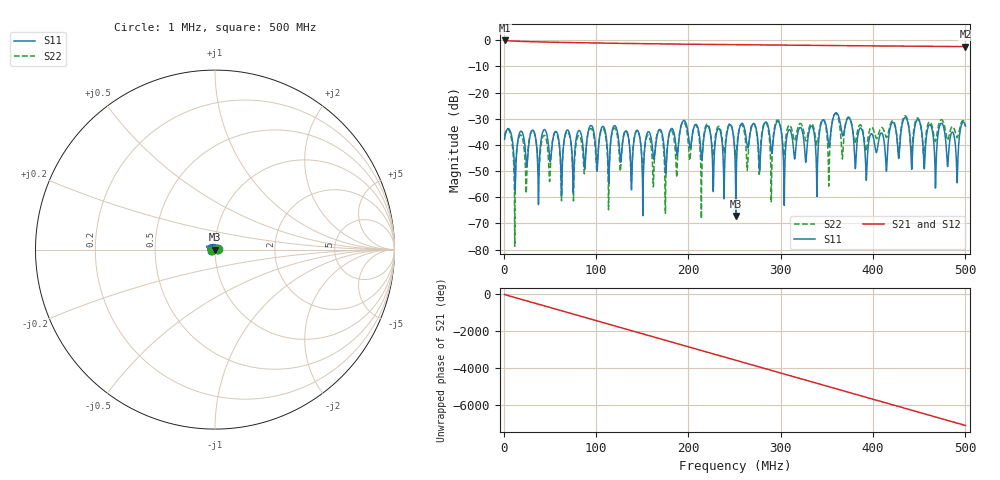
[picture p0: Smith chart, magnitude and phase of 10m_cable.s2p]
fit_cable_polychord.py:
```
import logging
import skrf as rf
import matplotlib.pyplot as plt

from mpi4py import MPI
rank = MPI.COMM_WORLD.Get_rank()

from pmrf.models import CoaxialLine
from pmrf.parameters import Uniform, Fixed, PercentNormal
from pmrf.fitting import PolyChordFitter

logging.basicConfig(level=logging.INFO)

# Load the measured data and setup the model
measured = rf.Network('data/10m_cable.s2p', f_unit='MHz')
model = CoaxialLine(
    din = PercentNormal(1.12, 5.0, scale=1e-3),
    dout = PercentNormal(3.2, 5.0, scale=1e-3),
    epr = PercentNormal(1.45, 5.0, n=2),
    rho = PercentNormal(1.6, 5.0, scale=1e-8),
    tand = Uniform(0.0, 0.01, value=0.0, scale=0.01, n=2),
    mur = Fixed(1.0),
    length = PercentNormal(10.0, 5.0),
    epr_model='bpoly',
    tand_model='bpoly',
)

# Initialize the fitter. Note that the features need to align with the likelihood
fitter = PolyChordFitter(
    model=model,
    output_path='output_fit_cable_polychord',
)

# Run the fit and plot the results. We use 1x the number of parameters for the live fit.
# Note that you can should run this script using mpi if possible e.g. `mpirun -np 6 python fit_cable_polychord.py` for 6 processes.
fitted_model, fit_results = fitter.run(measured, nlive_factor=1, save_results=True)
if rank == 0:
    fitted_model.to_skrf(measured.frequency).plot_s_db(m=0, n=0)
    measured.plot_s_db(m=0, n=0)
    plt.show()
```
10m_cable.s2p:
! MS46122B
! 1746301/73750021
! 11/1/2023 4:11:00 PM
! C:\USERS\SPEGWAL\DOWNLOADS\SAURABH\REACH\NODES\FRONT END\MEASUREMENTS\MEASURED S-PARAMETERS_01-11-2023\CABLES\10M_P1A1-P2A2.S2P
! CHANNEL.1
! TR.MEASUREMENT
! CORRECTED.DATA
# GHZ S RI R 50.0
! FREQ.GHZ  S11RE  S11IM  S21RE  S21IM  S12RE  S12IM  S22RE  S22IM
!; PortSelection: Port_12
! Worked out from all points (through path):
!   2001 points, 1 MHz to 500 MHz, reference 50 ohm
!   highest |S21| = -0.10 dB at 1.25 MHz (marker M1); lowest = -2.4 dB at 500 MHz (marker M2)
!   group delay of S21, straight-line fit = 39.6 ns
!   lowest |S11| = -67.1 dB at 251.5 MHz (marker M3), VSWR 1.00, Z = 50 - j0.0439 ohm
!   |S11| at or under -10 dB: start of sweep to end of sweep
!   |S22| runs from -78.7 to -28.0 dB; largest |S21 - S12| = 0.0043
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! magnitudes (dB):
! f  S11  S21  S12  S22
! 1 MHz  -37.9  -0.1  -0.1  -36.7
! 1.25 MHz  -37.1  -0.1  -0.1  -36.2
! 11.98 MHz  -53.7  -0.4  -0.4  -78.7
! 31.19 MHz  -34.4  -0.6  -0.6  -34.4
! 175.2 MHz  -49.7  -1.4  -1.4  -66.1
! 195.1 MHz  -30.6  -1.5  -1.5  -31.3
! 250.5 MHz  -45.0  -1.7  -1.7  -42.5
! 251.5 MHz  -67.1  -1.7  -1.7  -44.9
! 258 MHz  -31.8  -1.7  -1.7  -32.3
! 303.9 MHz  -63.1  -1.9  -1.9  -43.3
! 500 MHz  -32.8  -2.4  -2.4  -32.6
